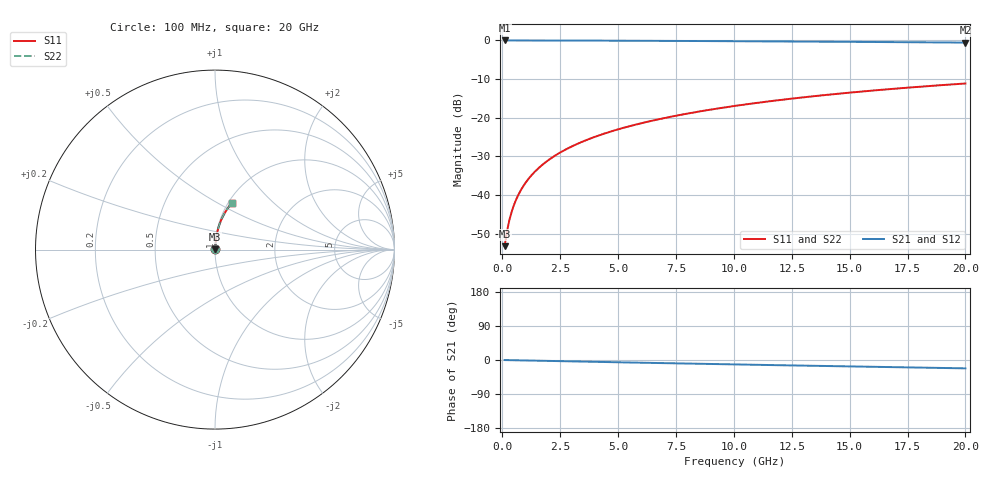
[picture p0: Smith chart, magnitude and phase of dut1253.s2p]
! Touchstone file exported from HFSS 2024.1.0
!  File:  C:/UserFiles/LocalFiles/RDL_TSV_Batchsim/temp_RDL_bottom_1253_1780245467.aedt
!  Generated:  12:40:35 AM Jun  1, 2026
!  Design:  RDL_bottom
!  Project:  temp_RDL_bottom_1253_1780245467
!  Setup:  Setup1
!  Solution:  Sweep
! Variables:
!  dtsv = 10.80580581um
!  hbump = 3um
!  htsv = 99.56um
!  ldown = 249.94um
!  lrdl = 100um
!  p = 40
!  p1 = 50.79um
!  rhole = 1um
!  t = 450um
!  tdown = 4.62um
!  trdl = 3.915915916um
!  wdown = 12.79um
!  wrdl = 20um
# GHz S MA R 50.000000
! Terminal data exported
! Port[1] = RDL1_T1
! Port[2] = RDL1_T2
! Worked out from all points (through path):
!   200 points, 100 MHz to 20 GHz, reference 50 ohm
!   highest |S21| = -0.01 dB at 100 MHz (marker M1); lowest = -0.6 dB at 20 GHz (marker M2)
!   group delay of S21, straight-line fit = 3.05 ps
!   lowest |S11| = -53.3 dB at 100 MHz (marker M3), VSWR 1.00, Z = 50.2 + j0.146 ohm
!   |S11| at or under -10 dB: start of sweep to end of sweep
!   |S22| runs from -53.3 to -11.2 dB; largest |S21 - S12| = 5.4e-15
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0.1  0.00217 42.2  0.9984 -0.1  0.9984 -0.1  0.00217 42.2
! Gamma 0 0 0 0
! Port Impedance 50 0 50 0
0.2  0.003335 60.5  0.9984 -0.3  0.9984 -0.3  0.003335 60.5
0.3  0.004643 68.7  0.9983 -0.4  0.9983 -0.4  0.004643 68.7
0.4  0.005993 73.2  0.9982 -0.5  0.9982 -0.5  0.005993 73.2
0.5  0.00736 76.0  0.9982 -0.6  0.9982 -0.6  0.00736 76.0
0.6  0.008737 78.0  0.9981 -0.7  0.9981 -0.7  0.008737 78.0
0.8  0.01151 80.5  0.998 -1.0  0.998 -1.0  0.01151 80.5
1.1  0.0157 82.5  0.9978 -1.4  0.9978 -1.4  0.0157 82.5
1.5  0.0213 83.8  0.9975 -1.8  0.9975 -1.8  0.0213 83.8
1.8  0.02552 84.3  0.9972 -2.2  0.9972 -2.2  0.02552 84.3
2.1  0.02974 84.6  0.9968 -2.6  0.9968 -2.6  0.02974 84.6
2.7  0.03818 84.8  0.996 -3.3  0.996 -3.3  0.03818 84.8
3.5  0.04944 84.7  0.9946 -4.2  0.9946 -4.2  0.04944 84.7
4.2  0.05929 84.4  0.9932 -5.1  0.9932 -5.1  0.05929 84.4
5  0.07057 84.0  0.9914 -6.0  0.9914 -6.0  0.07057 84.0
5.9  0.08327 83.4  0.9891 -7.1  0.9891 -7.1  0.08327 83.4
6.8  0.096 82.7  0.9866 -8.1  0.9866 -8.1  0.096 82.7
8.3  0.1172 81.5  0.9821 -9.8  0.9821 -9.8  0.1172 81.5
10.1  0.1427 79.9  0.9762 -11.7  0.9762 -11.7  0.1427 79.9
13.4  0.1888 76.7  0.9643 -15.3  0.9643 -15.3  0.1888 76.7
16.7  0.2338 73.4  0.9512 -18.7  0.9512 -18.7  0.2338 73.4
20  0.2769 70.0  0.937 -22.0  0.937 -22.0  0.2769 70.0
